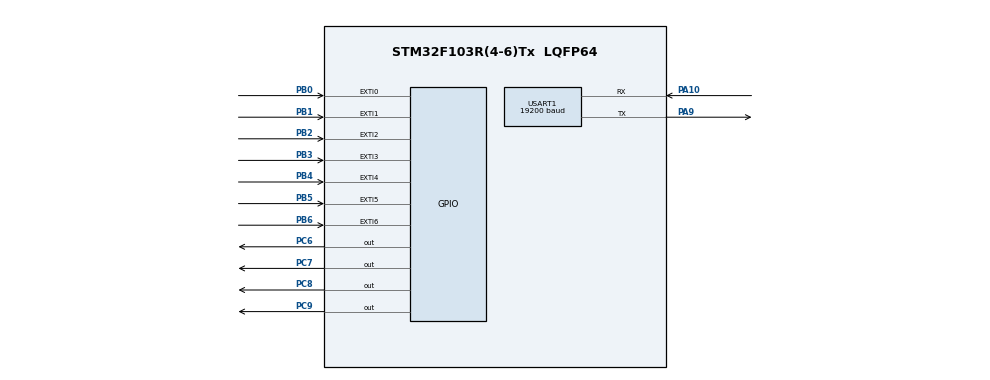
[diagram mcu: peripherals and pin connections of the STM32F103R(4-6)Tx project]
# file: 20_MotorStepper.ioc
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Mcu.Family=STM32F1
Mcu.Name=STM32F103R(4-6)Tx
Mcu.Package=LQFP64
NVIC.EXTI0_IRQn=true\:0\:0\:false\:false\:true\:true\:true\:true
NVIC.EXTI1_IRQn=true\:0\:0\:false\:false\:true\:true\:true\:true
NVIC.EXTI2_IRQn=true\:0\:0\:false\:false\:true\:true\:true\:true
NVIC.EXTI3_IRQn=true\:0\:0\:false\:false\:true\:true\:true\:true
NVIC.EXTI4_IRQn=true\:0\:0\:false\:false\:true\:true\:true\:true
NVIC.EXTI9_5_IRQn=true\:0\:0\:false\:false\:true\:true\:true\:true
NVIC.PriorityGroup=NVIC_PRIORITYGROUP_4
NVIC.TIM3_IRQn=true\:0\:0\:false\:false\:true\:true\:true\:true
PA10.Mode=Asynchronous
PA10.Signal=USART1_RX
PA9.Mode=Asynchronous
PA9.Signal=USART1_TX
PB0.Signal=GPXTI0
PB1.Signal=GPXTI1
PB2.Signal=GPXTI2
PB3.Signal=GPXTI3
PB4.Signal=GPXTI4
PB5.Signal=GPXTI5
PB6.Signal=GPXTI6
PC6.GPIO_ModeDefaultOutputPP=GPIO_MODE_OUTPUT_OD
PC6.GPIO_PuPd=GPIO_NOPULL
PC6.Signal=GPIO_Output
PC7.GPIO_ModeDefaultOutputPP=GPIO_MODE_OUTPUT_OD
PC7.GPIO_PuPd=GPIO_NOPULL
PC7.Signal=GPIO_Output
PC8.GPIO_ModeDefaultOutputPP=GPIO_MODE_OUTPUT_OD
PC8.GPIO_PuPd=GPIO_NOPULL
PC8.Signal=GPIO_Output
PC9.GPIO_ModeDefaultOutputPP=GPIO_MODE_OUTPUT_OD
PC9.GPIO_PuPd=GPIO_NOPULL
PC9.Signal=GPIO_Output
ProjectManager.HeapSize=0x200
ProjectManager.StackSize=0x400
ProjectManager.TargetToolchain=MDK-ARM V5.32
RCC.APB1Freq_Value=8000000
RCC.APB2Freq_Value=8000000
TIM3.Period=999
TIM3.Prescaler=7999
USART1.BaudRate=19200
USART1.VirtualMode=VM_ASYNC
VP_SYS_VS_ND.Mode=No_Debug
VP_TIM3_VS_ClockSourceINT.Mode=Internal
board=custom

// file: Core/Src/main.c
/* USER CODE BEGIN Header */
/**
  ******************************************************************************
  * @file           : main.c
  * @brief          : Main program body
  ******************************************************************************
  * @attention
  *
  * Copyright (c) 2022 STMicroelectronics.
  * All rights reserved.
  *
  * This software is licensed under terms that can be found in the LICENSE file
  * in the root directory of this software component.
  * If no LICENSE file comes with this software, it is provided AS-IS.
  *
  ******************************************************************************
  */
/* USER CODE END Header */
#include "main.h"
#include "tim.h"
#include "usart.h"
#include "gpio.h"

/* USER CODE BEGIN Includes */
#include "stdio.h"		//引入标准输入输出头文件
/* USER CODE END Includes */

/* USER CODE BEGIN PV */
char rd = 'C';		//C表示顺时针，A表示逆时针
uint16_t arr = 49;		//定时器重载值
int StepNo = 1;		//步序编号，1-AB  2-BC  3-CD  4-DA
uint8_t rf = 0;
/* USER CODE END PV */

void SystemClock_Config(void);
/* USER CODE BEGIN PFP */
void StepOut(uint8_t StepNo);		//定义相序设置函数
/* USER CODE END PFP */

int main(void)
{
  /* USER CODE BEGIN 1 */
	char str[4];		//串口输出值存放数组
  /* USER CODE END 1 */

  /* MCU Configuration--------------------------------------------------------*/

  /* Reset of all peripherals, Initializes the Flash interface and the Systick. */
  HAL_Init();

  /* Configure the system clock */
  SystemClock_Config();

  /* Initialize all configured peripherals */
  MX_GPIO_Init();
  MX_TIM3_Init();
  MX_USART1_UART_Init();
  /* USER CODE BEGIN 2 */
	__HAL_TIM_SET_AUTORELOAD(&htim3, arr);		//定时器3自动重载设定值
  /* USER CODE END 2 */

  /* Infinite loop */
  /* USER CODE BEGIN WHILE */
  while (1)
  {
		if(rf == 1)
		{
			HAL_UART_Transmit(&huart1, (uint8_t *)&"Time Interval[ms]", 18, 18);
			sprintf(str, "%d", arr);
			HAL_UART_Transmit(&huart1, (uint8_t *)str, 3, 3);
			HAL_UART_Transmit(&huart1, (uint8_t *)&"\n\r", 2, 2);
			rf = 0;
		}
    /* USER CODE END WHILE */

  }
}

void SystemClock_Config(void)
{
  RCC_OscInitTypeDef RCC_OscInitStruct = {0};
  RCC_ClkInitTypeDef RCC_ClkInitStruct = {0};

  /** Initializes the RCC Oscillators according to the specified parameters
  * in the RCC_OscInitTypeDef structure.
  */
  RCC_OscInitStruct.OscillatorType = RCC_OSCILLATORTYPE_HSI;
  RCC_OscInitStruct.HSIState = RCC_HSI_ON;
  RCC_OscInitStruct.HSICalibrationValue = RCC_HSICALIBRATION_DEFAULT;
  RCC_OscInitStruct.PLL.PLLState = RCC_PLL_NONE;
  if (HAL_RCC_OscConfig(&RCC_OscInitStruct) != HAL_OK)
  {
    Error_Handler();
  }

  /** Initializes the CPU, AHB and APB buses clocks
  */
  RCC_ClkInitStruct.ClockType = RCC_CLOCKTYPE_HCLK|RCC_CLOCKTYPE_SYSCLK
                              |RCC_CLOCKTYPE_PCLK1|RCC_CLOCKTYPE_PCLK2;
  RCC_ClkInitStruct.SYSCLKSource = RCC_SYSCLKSOURCE_HSI;
  RCC_ClkInitStruct.AHBCLKDivider = RCC_SYSCLK_DIV1;
  RCC_ClkInitStruct.APB1CLKDivider = RCC_HCLK_DIV1;
  RCC_ClkInitStruct.APB2CLKDivider = RCC_HCLK_DIV1;

  if (HAL_RCC_ClockConfig(&RCC_ClkInitStruct, FLASH_LATENCY_0) != HAL_OK)
  {
    Error_Handler();
  }
}

/* USER CODE BEGIN 4 */
//步序设置函数
void StepOut(uint8_t StepNo)
{
	if(StepNo==1)		//步序1-AB
	{
		HAL_GPIO_WritePin(GPIOC, GPIO_PIN_8|GPIO_PIN_9, GPIO_PIN_RESET);
		HAL_GPIO_WritePin(GPIOC, GPIO_PIN_6|GPIO_PIN_7, GPIO_PIN_SET);
	}
	else if(StepNo==2)		//步序2-BC
	{
		HAL_GPIO_WritePin(GPIOC, GPIO_PIN_6|GPIO_PIN_9, GPIO_PIN_RESET);
		HAL_GPIO_WritePin(GPIOC, GPIO_PIN_7|GPIO_PIN_8, GPIO_PIN_SET);
	}
	else if(StepNo==3)		//步序3-CD
	{
		HAL_GPIO_WritePin(GPIOC, GPIO_PIN_6|GPIO_PIN_7, GPIO_PIN_RESET);
		HAL_GPIO_WritePin(GPIOC, GPIO_PIN_8|GPIO_PIN_9, GPIO_PIN_SET);
	}
	else if(StepNo==4)		//步序4-DA
	{
		HAL_GPIO_WritePin(GPIOC, GPIO_PIN_7|GPIO_PIN_8, GPIO_PIN_RESET);
		HAL_GPIO_WritePin(GPIOC, GPIO_PIN_9|GPIO_PIN_6, GPIO_PIN_SET);
	}
}

//定时器3中断回调函数
void HAL_TIM_PeriodElapsedCallback (TIM_HandleTypeDef *htim)
{
	if(htim==&htim3)
	{
		if(rd=='C')		//正转
		{
			StepNo++;
			if(StepNo>4)StepNo=1;
			StepOut(StepNo);
		}
		else if(rd=='A')		//反转
		{
			StepNo--;
			if(StepNo<0)StepNo=4;
			StepOut(StepNo);
		}
	}
}

//外部中断回调函数
void HAL_GPIO_EXTI_Callback(uint16_t GPIO_Pin)
{
	if(GPIO_Pin==GPIO_PIN_0)		//按键0-连续正转
	{
		rd='C';
		HAL_TIM_Base_Start_IT(&htim3);
		StepOut(StepNo);
		rf=1;
	}
	else if(GPIO_Pin==GPIO_PIN_1)		//按键1-连续反转
	{
		rd='A';
		HAL_TIM_Base_Start_IT(&htim3);
		StepOut(StepNo);
		rf=1;
	}
	else if(GPIO_Pin==GPIO_PIN_2)		//按键2-停止
	{
		HAL_TIM_Base_Stop(&htim3);
	}
	else if(GPIO_Pin==GPIO_PIN_3)		//按键3-加速
	{
		if(arr>49)arr-=50;
		__HAL_TIM_SET_AUTORELOAD(&htim3,arr);
		rf=1;
	}
	else if(GPIO_Pin==GPIO_PIN_4)		//按键4-减速
	{
		if(arr<999)arr+=50;
		__HAL_TIM_SET_AUTORELOAD(&htim3,arr);
		rf=1;
	}
	else if(GPIO_Pin==GPIO_PIN_5)		//按键5-点动正转
	{
		if(HAL_GPIO_ReadPin(GPIOB,GPIO_PIN_5)==GPIO_PIN_RESET)  //检测下降沿
		{
			rd='C';
			HAL_TIM_Base_Start_IT(&htim3);
			StepOut(StepNo);
			rf=1;
		}
		else  //检测上升沿
		{
			HAL_TIM_Base_Stop(&htim3);
		}
	}
	else if(GPIO_Pin==GPIO_PIN_6)		//按键6-点动正转
	{
		if(HAL_GPIO_ReadPin(GPIOB,GPIO_PIN_6)==GPIO_PIN_RESET)  //检测下降沿
		{
			rd='A';
			HAL_TIM_Base_Start_IT(&htim3);
			StepOut(StepNo);
			rf=1;
		}
		else  //检测上升沿
		{
			HAL_TIM_Base_Stop(&htim3);
		}
	}
}
/* USER CODE END 4 */

void Error_Handler(void)
{
  __disable_irq();
  while (1)
  {
  }
}
